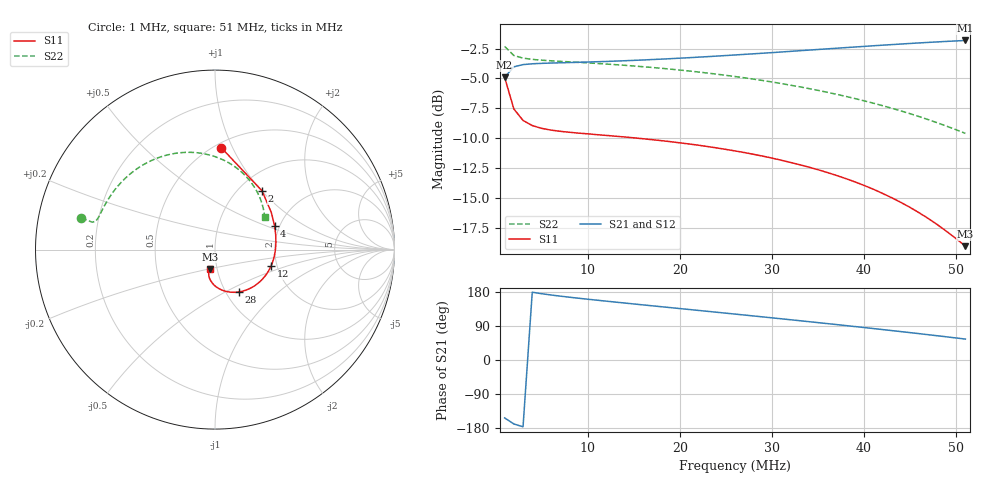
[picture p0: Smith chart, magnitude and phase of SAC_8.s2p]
# MHz S RI R 50
! S-Parameters data
! Freq  reS11  imS11  reS21  imS21  reS12  imS12  reS22  imS22
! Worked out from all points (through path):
!   51 points, 1 MHz to 51 MHz, reference 50 ohm
!   highest |S21| = -1.83 dB at 51 MHz (marker M1); lowest = -4.9 dB at 1 MHz (marker M2)
!   lowest |S11| = -19.0 dB at 51 MHz (marker M3), VSWR 1.25, Z = 46.2 - j10.1 ohm
!   |S11| at or under -10 dB: 15.57 MHz to end of sweep
!   |S22| runs from -9.6 to -2.3 dB; largest |S21 - S12| = 0.00054
!   S11 on the Smith chart (normalised r, x): 1 MHz: 0.54, +0.91; 2 MHz: 1.26, +1.01; 4 MHz: 1.88, +0.57; 12 MHz: 1.86, -0.38; 28 MHz: 1.15, -0.59; 51 MHz: 0.92, -0.20
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1  0.0344 0.5682  -0.5061 -0.2596  -0.5061 -0.2595  -0.7449 0.1761
2  0.2618 0.3279  -0.617 -0.122  -0.6169 -0.1218  -0.6844 0.153
3  0.3141 0.2059  -0.641 -0.0424  -0.6408 -0.0421  -0.6653 0.1577
4  0.3318 0.1332  -0.6474 0.0126  -0.6472 0.013  -0.6528 0.1736
5  0.3381 0.083  -0.6476 0.0565  -0.6476 0.0568  -0.6417 0.1942
6  0.3394 0.0448  -0.6452 0.0944  -0.6451 0.0946  -0.6301 0.2172
8  0.335 -0.0124  -0.6352 0.1606  -0.635 0.1611  -0.6041 0.2653
10  0.3254 -0.0562  -0.6206 0.2204  -0.6204 0.2205  -0.5732 0.313
12  0.3119 -0.0922  -0.6018 0.276  -0.6017 0.2764  -0.5375 0.3582
15  0.2869 -0.1367  -0.5671 0.355  -0.5668 0.3553  -0.4757 0.4191
18  0.2568 -0.1723  -0.5234 0.4296  -0.5233 0.4293  -0.4051 0.4696
22  0.2109 -0.2079  -0.452 0.5214  -0.4518 0.5209  -0.3011 0.5171
26  0.1606 -0.2296  -0.3648 0.603  -0.3648 0.6026  -0.1913 0.5399
28  0.1347 -0.2354  -0.3151 0.6392  -0.3152 0.6389  -0.1361 0.542
31  0.096 -0.2376  -0.2336 0.6864  -0.2337 0.686  -0.0546 0.5327
35  0.0481 -0.229  -0.1118 0.7344  -0.1121 0.7343  0.0463 0.4995
39  0.00729 -0.208  0.0225 0.7605  0.0222 0.7603  0.1346 0.4437
43  -0.0216 -0.1773  0.1664 0.7605  0.1662 0.7604  0.2049 0.3694
45  -0.0303 -0.1599  0.2406 0.7496  0.2402 0.7492  0.2321 0.3266
47  -0.0346 -0.1419  0.3151 0.7302  0.3149 0.73  0.2533 0.2807
49  -0.034 -0.1244  0.3892 0.7025  0.3889 0.7023  0.2683 0.2325
51  -0.0285 -0.1085  0.4621 0.6656  0.4619 0.6656  0.2768 0.1824
